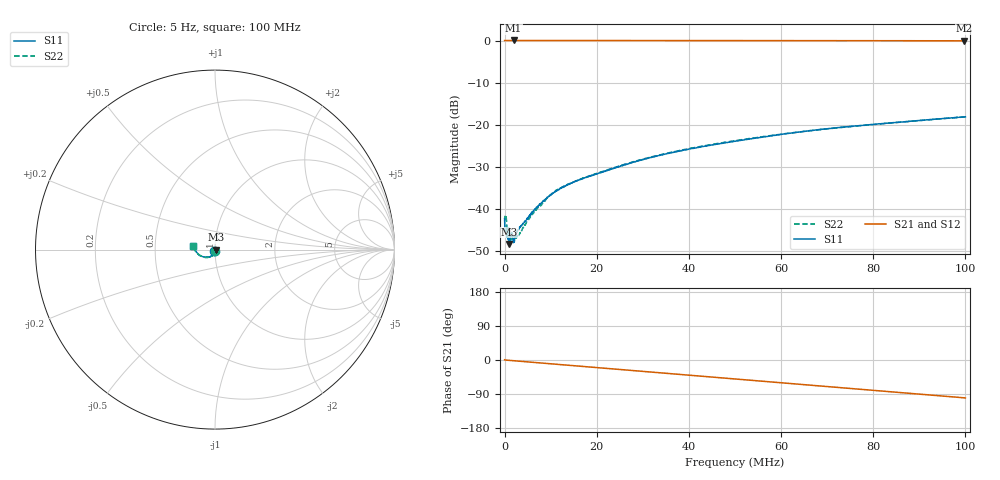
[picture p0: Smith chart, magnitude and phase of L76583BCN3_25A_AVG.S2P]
!Agilent Technologies,E5061B,MY49102235,A.02.00
!Date: Tue Jul 11 15:40:22 2023
!Data & Calibration Information:
!Freq	S11:SOLT2(ON)	S21:SOLT2(ON)	S12:SOLT2(ON)	S22:SOLT2(ON)
# Hz S RI R 50
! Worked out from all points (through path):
!   1600 points, 5 Hz to 100 MHz, reference 50 ohm
!   highest |S21| = 0.02 dB at 1.939 MHz (marker M1); lowest = -0.1 dB at 99.75 MHz (marker M2)
!   group delay of S21, straight-line fit = 2.78 ns
!   lowest |S11| = -48.3 dB at 1.001 MHz (marker M3), VSWR 1.01, Z = 50.4 - j0.0878 ohm
!   |S11| at or under -10 dB: start of sweep to end of sweep
!   |S22| runs from -48.8 to -18.1 dB; largest |S21 - S12| = 0.0027
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5  -0.00525 -0.00563  1.002 0.00794  1 0.0103  -0.00151 -0.00756
437778.6  0.00514 -0.000642  1.001 -0.00538  1.001 -0.00601  0.00661 -0.00228
625395.8  0.00508 -0.000693  1.002 -0.0105  1.002 -0.01  0.00609 -0.00106
1000630  0.00376 -0.000872  1.001 -0.0163  1.001 -0.0159  0.00514 -0.00179
1563482  0.00434 -0.00304  1.001 -0.0263  1.001 -0.0253  0.00314 -0.00363
1938717  0.00309 -0.00253  1.002 -0.0336  1.001 -0.0329  0.0034 -0.00226
2376490  0.00328 -0.00322  0.9997 -0.0411  1 -0.0414  0.00393 -0.00289
3064420  0.00412 -0.00399  0.9998 -0.0533  0.9991 -0.0531  0.00302 -0.00384
6003757  0.00324 -0.00844  0.9955 -0.1045  0.9955 -0.1042  0.00281 -0.00826
9505946  0.00128 -0.014  0.9872 -0.1655  0.9873 -0.1651  0.000704 -0.0139
1.163227e7  -0.000321 -0.0171  0.9805 -0.2019  0.9802 -0.2014  -0.00121 -0.0171
1.669794e7  -0.00438 -0.0223  0.9582 -0.2877  0.9581 -0.2873  -0.00474 -0.0224
2.582865e7  -0.0123 -0.0308  0.9005 -0.4362  0.9003 -0.4359  -0.0102 -0.0321
3.333334e7  -0.0217 -0.0372  0.8352 -0.55  0.8351 -0.5496  -0.0204 -0.0384
4.040025e7  -0.0318 -0.041  0.7606 -0.6481  0.7608 -0.6481  -0.0313 -0.0424
5.003127e7  -0.0471 -0.043  0.641 -0.7662  0.641 -0.7659  -0.0474 -0.0441
6.672921e7  -0.0782 -0.0361  0.3928 -0.9165  0.3932 -0.9165  -0.0774 -0.0365
7.53596e7  -0.0926 -0.026  0.2507 -0.964  0.251 -0.9639  -0.0919 -0.027
8.33646e7  -0.1041 -0.0129  0.1141 -0.9888  0.1142 -0.9888  -0.1036 -0.0147
9.155722e7  -0.1145 0.00299  -0.0281 -0.9938  -0.028 -0.9938  -0.1144 0.000174
9.974984e7  -0.1225 0.021  -0.1692 -0.9783  -0.1688 -0.9785  -0.1223 0.0183
1e8  -0.1227 0.0215  -0.1734 -0.9777  -0.1731 -0.9778  -0.1227 0.019
